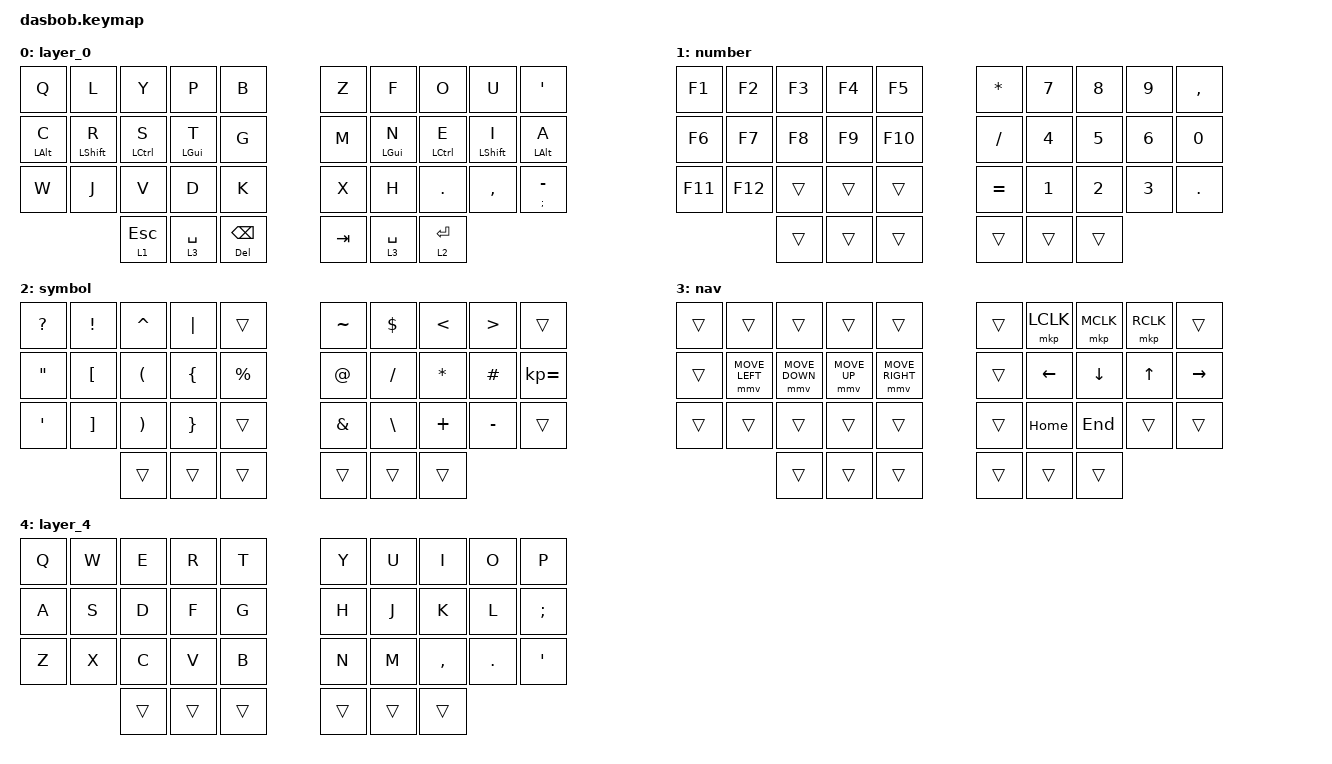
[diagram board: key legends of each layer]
#include <behaviors.dtsi>
#include <dt-bindings/zmk/keys.h>
#include <dt-bindings/zmk/mouse.h>

&mmv { time-to-max-speed-ms = <600>; };

/ {
    behaviors {
        hm: homerow_mods {
            compatible = "zmk,behavior-hold-tap";
            label = "HOMEROW_MODS";
            bindings = <&kp>, <&kp>;

            #binding-cells = <2>;
            tapping-term-ms = <300>;
            quick-tap-ms = <0>;
            flavor = "tap-preferred";
        };

        repeatOrKP: repeatOrKP {
            compatible = "zmk,behavior-hold-tap";
            label = "REPEATORKP";
            bindings = <&key_repeat>, <&kp>;

            #binding-cells = <2>;
            tapping-term-ms = <300>;
            flavor = "tap-preferred";
        };

        new_behavior: new_behavior {
            compatible = "zmk,behavior-hold-tap";
            label = "NEW_BEHAVIOR";
            bindings = <&kp>, <&removeWORD>;

            #binding-cells = <2>;
            tapping-term-ms = <200>;
        };
    };

    macros {
        lock: lock {
            compatible = "zmk,behavior-macro";
            #binding-cells = <0>;
            bindings =
                <&macro_press>,
                <&kp LEFT_GUI>,
                <&macro_tap>,
                <&kp L>,
                <&macro_release>,
                <&kp LGUI>;

            label = "LOCK";
        };

        word_delete: word_delete {
            compatible = "zmk,behavior-macro";
            #binding-cells = <0>;
            bindings =
                <&macro_press>,
                <&kp LCTRL>,
                <&macro_tap>,
                <&kp BACKSPACE>,
                <&macro_release>,
                <&kp LCTRL>;

            label = "WORD_DELETE";
            tap-ms = <50>;
            wait-ms = <25>;
        };

        drun: drun {
            compatible = "zmk,behavior-macro";
            #binding-cells = <0>;
            bindings =
                <&macro_press>,
                <&kp LEFT_GUI>,
                <&macro_tap>,
                <&kp D>,
                <&macro_release>,
                <&kp LEFT_GUI>;

            label = "DRUN";
        };

        removeWORD: removeWORD {
            compatible = "zmk,behavior-macro";
            #binding-cells = <0>;
            bindings =
                <&macro_press>,
                <&kp LCTRL>,
                <&macro_tap>,
                <&kp BACKSPACE>,
                <&macro_release>;

            label = "REMOVEWORD";
        };
    };

    combos {
        compatible = "zmk,combos";

        capsword {
            bindings = <&caps_word>;
            key-positions = <31 30>;
        };

        dele_word {
            bindings = <&word_delete>;
            key-positions = <31 34>;
        };

        qwertyLayer {
            bindings = <&to 4>;
            key-positions = <0 9>;
            require-prior-idle-ms = <1500>;
        };

        rcstrcstrcst {
            bindings = <&to 0>;
            key-positions = <20 29>;
            layers = <4>;
            require-prior-idle-ms = <1000>;
        };
    };

    keymap {
        compatible = "zmk,keymap";

        // This is a sample keymap intended to be replaced with your own

        layer_0 {
            bindings = <
&kp Q           &kp L         &kp Y         &kp P        &kp B                 &kp Z    &kp F           &kp O        &kp U             &kp SQT
&hm LEFT_ALT C  &hm LSHIFT R  &hm LCTRL S   &hm LGUI T   &kp G                 &kp M    &hm LEFT_GUI N  &hm LCTRL E  &hm LEFT_SHIFT I  &hm LEFT_ALT A
&kp W           &kp J         &kp V         &kp D        &kp K                 &kp X    &kp H           &kp DOT      &kp COMMA         &mt SEMI MINUS
                              &lt 1 ESCAPE  &lt 3 SPACE  &mt DELETE BACKSPACE  &kp TAB  &lt 3 SPACE     &lt 2 ENTER
            >;
        };

        number {
            bindings = <
&kp F1   &kp F2   &kp F3  &kp F4  &kp F5   &kp STAR   &kp N7  &kp N8  &kp N9  &kp COMMA
&kp F6   &kp F7   &kp F8  &kp F9  &kp F10  &kp FSLH   &kp N4  &kp N5  &kp N6  &kp N0
&kp F11  &kp F12  &trans  &trans  &trans   &kp EQUAL  &kp N1  &kp N2  &kp N3  &kp DOT
                  &trans  &trans  &trans   &trans     &trans  &trans
            >;
        };

        symbol {
            bindings = <
&kp QUESTION       &kp EXCL           &kp CARET              &kp PIPE         &trans       &kp TILDE      &kp DOLLAR     &kp LESS_THAN  &kp GREATER_THAN  &trans
&kp DOUBLE_QUOTES  &kp LEFT_BRACKET   &kp LEFT_PARENTHESIS   &kp LEFT_BRACE   &kp PERCENT  &kp AT         &kp SLASH      &kp ASTERISK   &kp HASH          &kp KP_EQUAL
&kp SINGLE_QUOTE   &kp RIGHT_BRACKET  &kp RIGHT_PARENTHESIS  &kp RIGHT_BRACE  &trans       &kp AMPERSAND  &kp BACKSLASH  &kp PLUS       &kp MINUS         &trans
                                      &trans                 &trans           &trans       &trans         &trans         &trans
            >;
        };

        nav {
            bindings = <
&trans  &trans          &trans          &trans        &trans           &trans  &mkp LCLK  &mkp MCLK  &mkp RCLK  &trans
&trans  &mmv MOVE_LEFT  &mmv MOVE_DOWN  &mmv MOVE_UP  &mmv MOVE_RIGHT  &trans  &kp LEFT   &kp DOWN   &kp UP     &kp RIGHT
&trans  &trans          &trans          &trans        &trans           &trans  &kp HOME   &kp END    &trans     &trans
                        &trans          &trans        &trans           &trans  &trans     &trans
            >;
        };

        layer_4 {
            bindings = <
&kp Q  &kp W  &kp E   &kp R   &kp T   &kp Y   &kp U   &kp I      &kp O    &kp P
&kp A  &kp S  &kp D   &kp F   &kp G   &kp H   &kp J   &kp K      &kp L    &kp SEMI
&kp Z  &kp X  &kp C   &kp V   &kp B   &kp N   &kp M   &kp COMMA  &kp DOT  &kp APOS
              &trans  &trans  &trans  &trans  &trans  &trans
            >;
        };
    };
};
